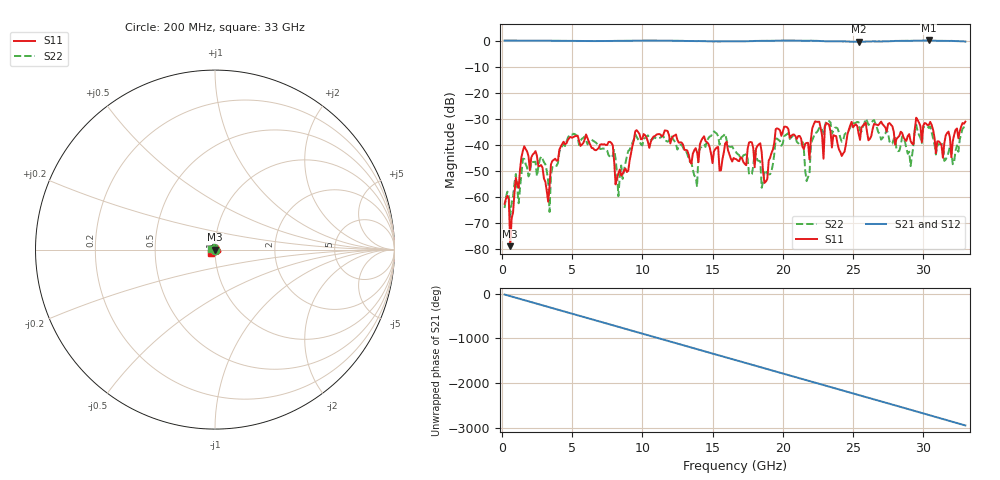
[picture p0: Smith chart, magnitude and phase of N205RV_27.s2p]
# GHZ S RI R 50
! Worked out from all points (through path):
!   329 points, 200 MHz to 33 GHz, reference 50 ohm
!   highest |S21| = 0.03 dB at 30.4 GHz (marker M1); lowest = -0.5 dB at 25.4 GHz (marker M2)
!   group delay of S21, straight-line fit = 248 ps
!   lowest |S11| = -78.9 dB at 600 MHz (marker M3), VSWR 1.00, Z = 50 + j0.000516 ohm
!   |S11| at or under -10 dB: start of sweep to end of sweep
!   |S22| runs from -67.7 to -30.0 dB; largest |S21 - S12| = 0.0019
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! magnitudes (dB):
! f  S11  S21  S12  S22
! 200 MHz  -62.7  0.0  0.0  -64.3
! 500 MHz  -60.9  0.0  0.0  -59.6
! 600 MHz  -78.9  0.0  0.0  -67.7
! 1.6 GHz  -40.6  0.0  0.0  -45.5
! 3.1 GHz  -54.2  -0.1  -0.1  -47.5
! 3.4 GHz  -55.8  -0.1  -0.1  -65.8
! 3.6 GHz  -46.2  -0.1  -0.1  -48.6
! 5.7 GHz  -40.0  -0.2  -0.2  -37.7
! 8 GHz  -46.6  -0.1  -0.1  -42.0
! 8.3 GHz  -51.1  -0.1  -0.1  -59.8
! 9.5 GHz  -34.8  -0.1  -0.1  -36.0
! 11.2 GHz  -35.9  0.0  0.0  -37.4
! 13.9 GHz  -43.0  -0.2  -0.2  -56.1
! 15.1 GHz  -42.5  -0.3  -0.3  -34.8
! 16.6 GHz  -45.4  -0.3  -0.3  -42.3
! 18.5 GHz  -42.9  -0.1  -0.1  -56.5
! 22.1 GHz  -33.6  -0.1  -0.1  -38.1
! 25.4 GHz  -35.7  -0.5  -0.5  -31.4
! 27.6 GHz  -31.7  -0.2  -0.2  -38.8
! 30.4 GHz  -32.4  0.0  0.0  -33.6
! 32.1 GHz  -38.7  -0.2  -0.2  -47.5
! 33 GHz  -31.1  -0.4  -0.4  -33.0
